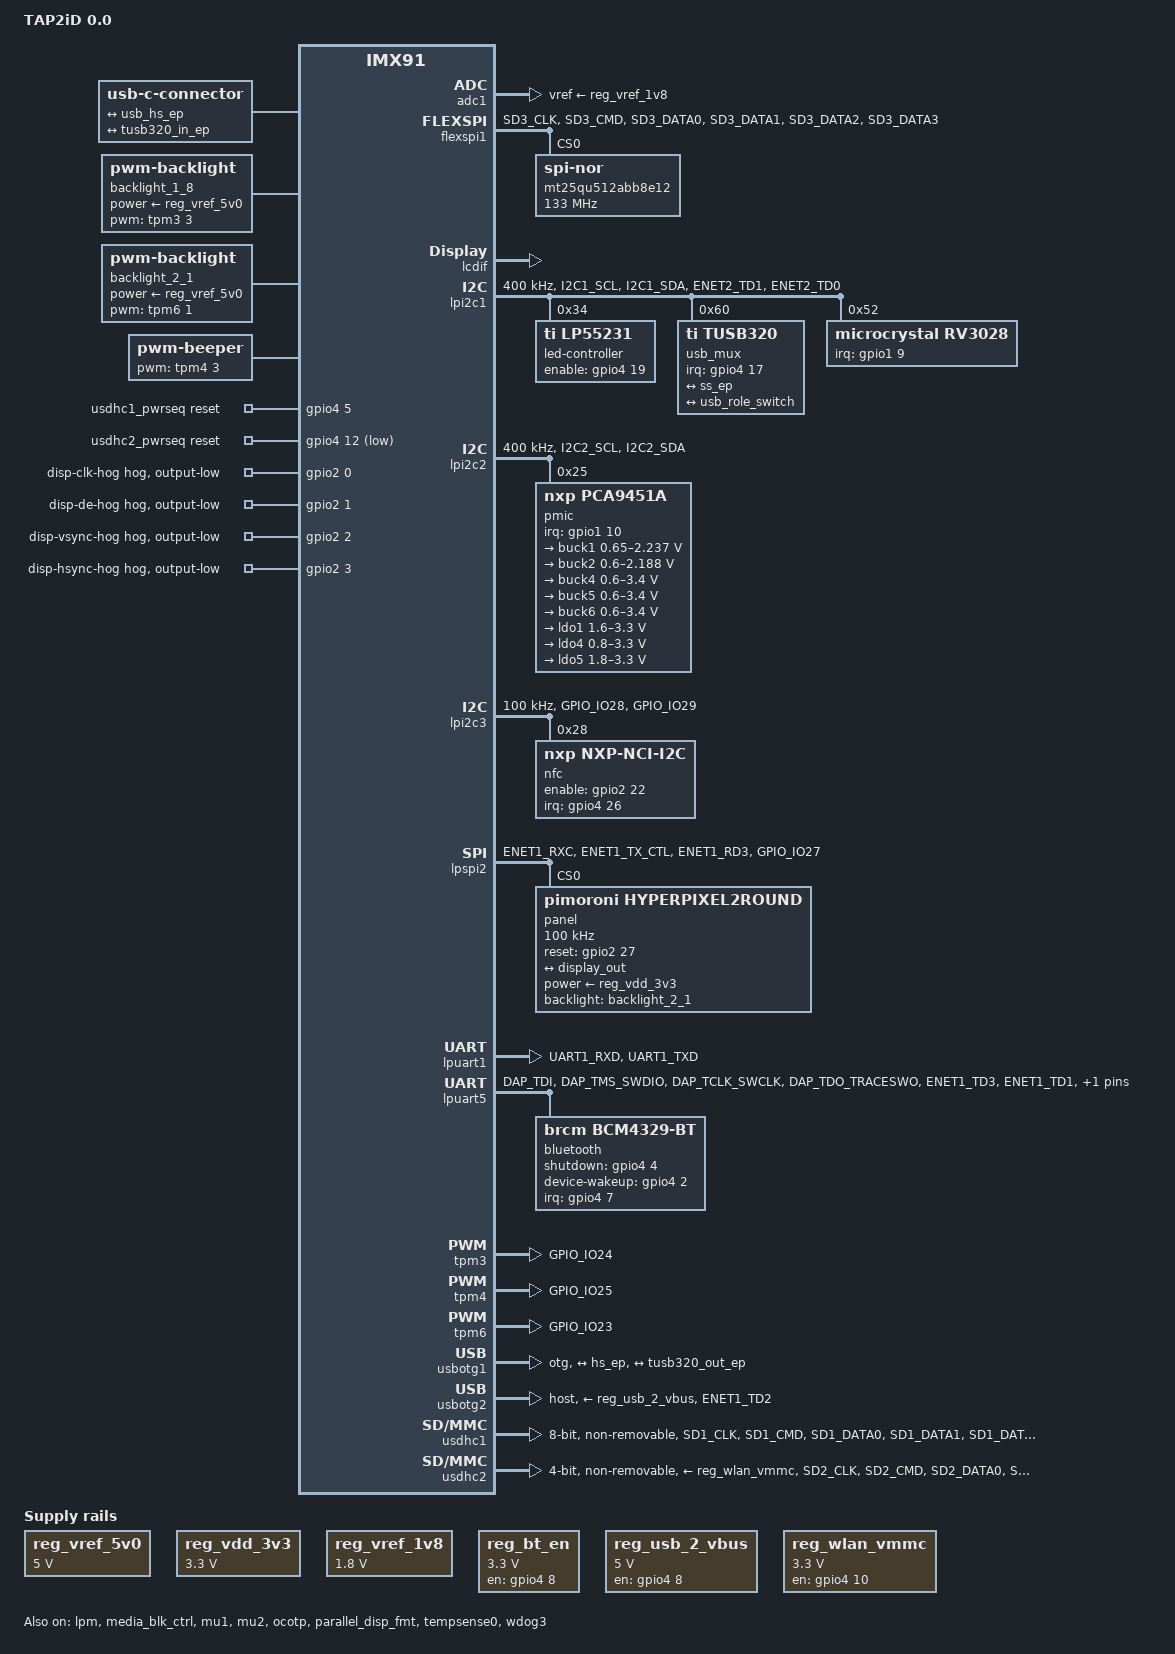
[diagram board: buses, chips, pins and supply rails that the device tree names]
// SPDX-License-Identifier: (GPL-2.0-or-later OR MIT)
/*
 * Copyright 2026 Elexontech
 */

/dts-v1/;

#include <dt-bindings/usb/pd.h>
#include <dt-bindings/leds/common.h>
#include <dt-bindings/leds/leds-lp55xx.h>
#include <dt-bindings/pwm/pwm.h>
#include "imx91.dtsi"

/ {
	model = "TAP2iD 0.0";
	compatible = "fsl,imx91-tap2id", "fsl,imx91";

	aliases {
		rtc0 = &rv3028;
		rtc1 = &bbnsm_rtc;
	};

	chosen {
		stdout-path = &lpuart1;
	};

	connector {
		compatible = "usb-c-connector";
		label = "USB-C";
		data-role = "dual";

		ports {
			#address-cells = <1>;
			#size-cells = <0>;

			port@0 {
				reg = <0>;
				hs_ep: endpoint {
					remote-endpoint = <&usb_hs_ep>;
				};
			};

			port@1 {
				reg = <1>;
				ss_ep: endpoint {
					remote-endpoint = <&tusb320_in_ep>;
				};
			};
		};
	};

	reserved-memory {
		#address-cells = <2>;
		#size-cells = <2>;
		ranges;

		linux,cma {
			compatible = "shared-dma-pool";
			reusable;
			alloc-ranges = <0 0x80000000 0 0x40000000>;
			size = <0 0x10000000>;
			linux,cma-default;
		};

		ele_reserved: ele-reserved@a4120000 {
			compatible = "shared-dma-pool";
			reg = <0 0xa4120000 0 0x100000>;
			no-map;
		};
	};

	backlight_1_8: backlight18 {
		compatible = "pwm-backlight";
		pwms = <&tpm3 3 40000 0>;	/* 25KHz PWM */
		brightness-levels = <0 10>;
		num-interpolated-steps = <10>;
		default-brightness-level = <8>;
		power-supply = <&reg_vref_5v0>;
	};

	backlight_2_1: backlight21 {
		compatible = "pwm-backlight";
		pwms = <&tpm6 1 40000 PWM_POLARITY_INVERTED>;	/* 25KHz PWM */
		brightness-levels = <0 10>;
		num-interpolated-steps = <10>;
		default-brightness-level = <8>;
		power-supply = <&reg_vref_5v0>;
	};

	pwm-beeper {
		compatible = "pwm-beeper";
		pwms = <&tpm4 3 5000 0>;
		beeper-hz = <1000>;
	};

	reg_vref_5v0: regulator-5v0 {
		compatible = "regulator-fixed";
		regulator-name = "VDD_5V0";
		regulator-min-microvolt = <5000000>;
		regulator-max-microvolt = <5000000>;
	};

	reg_vdd_3v3: regulator-vdd {
		compatible = "regulator-fixed";
		regulator-name = "VDD_3V3";
		regulator-min-microvolt = <3300000>;
		regulator-max-microvolt = <3300000>;
	};

	reg_vref_1v8: regulator-adc-vref {
		compatible = "regulator-fixed";
		regulator-name = "vref_1v8";
		regulator-min-microvolt = <1800000>;
		regulator-max-microvolt = <1800000>;
	};

	reg_bt_en: regulator-wlan-en {
		compatible = "regulator-fixed";
		regulator-name = "reg_bt_en";
		regulator-min-microvolt = <3300000>;
		regulator-max-microvolt = <3300000>;
		gpio = <&gpio4 8 GPIO_ACTIVE_HIGH>;
		startup-delay-us = <70000>;
		enable-active-high;
	};

	reg_usb_2_vbus: regulator-usb-2-vbus {
		compatible = "regulator-fixed";
		pinctrl-0 = <&pinctrl_usb_2_pwr>;
		pinctrl-names = "default";
		regulator-name = "usb_2_vbus";
		regulator-min-microvolt = <5000000>;
		regulator-max-microvolt = <5000000>;
		gpio = <&gpio4 8 GPIO_ACTIVE_HIGH>; /* USB2_PWR */
		enable-active-high;
	};

	reg_wlan_vmmc: regulator-wlan-vmmc {
		compatible = "regulator-fixed";
		regulator-name = "reg_wlan_vmmc";
		regulator-min-microvolt = <3300000>;
		regulator-max-microvolt = <3300000>;
		gpio = <&gpio4 10 GPIO_ACTIVE_HIGH>; /* WL_REG_ON */
		startup-delay-us = <70000>;
		enable-active-high;
	};

#if 0
	sound {
		compatible = "simple-audio-card";
		simple-audio-card,name = "imx-i2s-slave";
		simple-audio-card,format = "i2s";

		simple-audio-card,cpu {
		       sound-dai = <&sai2>;
		};

	       // simple-audio-card,codec {
		//       sound-dai = <&codec_device>;
		//};
	};
#endif

	usdhc1_pwrseq: usdhc1-pwrseq {
		compatible = "mmc-pwrseq-emmc";
		pinctrl-0 = <&pinctrl_usdhc1_reset>;
		pinctrl-names = "default";
		reset-gpios = <&gpio4 5 GPIO_ACTIVE_HIGH>; /* eMMC_SDIO_RESET */
	};

	usdhc2_pwrseq: usdhc2_pwrseq {
		compatible = "mmc-pwrseq-simple";
		reset-gpios = <&gpio4 12 GPIO_ACTIVE_LOW>; /* WL_DEV_WAKE */
	};

};

&adc1 {
	vref-supply = <&reg_vref_1v8>;
	status = "okay";
};

&ele_fw2 {
	memory-region = <&ele_reserved>;
};

&flexspi1 { /* qSPI */
	pinctrl-names = "default", "sleep";
	pinctrl-0 = <&pinctrl_flexspi1>;
	pinctrl-1 = <&pinctrl_flexspi1>;
	status = "okay";

// LCD_1_8
	/* For HW test */
	mt25qu512abb8e12: flash@0 {
		reg = <0>;
		#address-cells = <1>;
		#size-cells = <1>;
		compatible = "jedec,spi-nor";
		spi-max-frequency = <133000000>;
		spi-tx-bus-width = <4>;
		spi-rx-bus-width = <4>;
	};
};

&gpio1 {
	gpio-line-names = "", "", "", "", "",					/* 0-4 */
			"", "", "", "", "RTC_INT",				/* 5-9 */
			"PMIC_IRQ_B", "", "", "", "",				/* 10-14 */
			"", "", "", "", "",					/* 15-19 */
			"", "", "", "", "",					/* 20-24 */
			"", "", "", "", "";					/* 25-29 */
};

&gpio2 {
	gpio-line-names = "", "", "", "", "",					/* 0-4 */
			"", "", "", "", "",					/* 5-9 */
			"", "", "", "", "",					/* 10-14 */
			"", "", "", "", "",					/* 15-19 */
			"", "", "NFC_RESET", "", "",				/* 20-24 */
			"", "", "DISP_2_1_RST", "", "";				/* 25-29 */

	/* avoid power leakage */
	disp-clk-hog {
		gpio-hog;
		gpios = <0 GPIO_ACTIVE_HIGH>;
		output-low;
	};

	disp-de-hog {
		gpio-hog;
		gpios = <1 GPIO_ACTIVE_HIGH>;
		output-low;
	};

	disp-vsync-hog {
		gpio-hog;
		gpios = <2 GPIO_ACTIVE_HIGH>;
		output-low;
	};

	disp-hsync-hog {
		gpio-hog;
		gpios = <3 GPIO_ACTIVE_HIGH>;
		output-low;
	};
};

&gpio4 {
	gpio-line-names = "", "", "BT_WAKE", "", "BT_REG_ON",				/* 0-4 */
			"eMMC_SDIO_RESET", "", "BT_HOST_WAKE", "USB2_PWR", "",		/* 5-9 */
			"WL_REG_ON", "WL_HOST_WAKE", "WL_DEV_WAKE", "SPI_A_CS0#", "",	/* 10-14 */
			"", "", "TUSB_INT", "LED3_IRQ", "LED3_EN",			/* 15-19 */
			"", "", "", "", "TUSB_GPIO1",					/* 20-24 */
			"TUSB_GPIO2", "NFC_GPO", "", "", "";				/* 25-29 */

};

&iomuxc {

#if 0
	pinctrl-names = "default";
	pinctrl-0 = <&pinctrl_hog>;

	pinctrl_hog: hoggrp {
		fsl,pins = <
		>;
	};
#endif

	pinctrl_flexspi1: flexspi1grp {
		fsl,pins = <
			MX91_PAD_SD3_CLK__FLEXSPI1_A_SCLK		0x3fe
			MX91_PAD_SD3_CMD__FLEXSPI1_A_SS0_B		0x3fe
			MX91_PAD_SD3_DATA0__FLEXSPI1_A_DATA0		0x3fe
			MX91_PAD_SD3_DATA1__FLEXSPI1_A_DATA1		0x3fe
			MX91_PAD_SD3_DATA2__FLEXSPI1_A_DATA2		0x3fe
			MX91_PAD_SD3_DATA3__FLEXSPI1_A_DATA3		0x3fe
		>;
	};

	pinctrl_lcdif: lcdifgrp { /* LCD_2_1 */
		fsl,pins = <
			MX91_PAD_GPIO_IO00__MEDIAMIX_DISP_CLK		0x31e
			MX91_PAD_GPIO_IO01__MEDIAMIX_DISP_DE		0x31e
			MX91_PAD_GPIO_IO02__MEDIAMIX_DISP_VSYNC		0x31e
			MX91_PAD_GPIO_IO03__MEDIAMIX_DISP_HSYNC		0x31e
			MX91_PAD_GPIO_IO04__MEDIAMIX_DISP_DATA0		0x31e
			MX91_PAD_GPIO_IO05__MEDIAMIX_DISP_DATA1		0x31e
			MX91_PAD_GPIO_IO06__MEDIAMIX_DISP_DATA2		0x31e
			MX91_PAD_GPIO_IO07__MEDIAMIX_DISP_DATA3		0x31e
			MX91_PAD_GPIO_IO08__MEDIAMIX_DISP_DATA4		0x31e
			MX91_PAD_GPIO_IO09__MEDIAMIX_DISP_DATA5		0x31e
			MX91_PAD_GPIO_IO10__MEDIAMIX_DISP_DATA6		0x31e
			MX91_PAD_GPIO_IO11__MEDIAMIX_DISP_DATA7		0x31e
			MX91_PAD_GPIO_IO12__MEDIAMIX_DISP_DATA8		0x31e
			MX91_PAD_GPIO_IO13__MEDIAMIX_DISP_DATA9		0x31e
			MX91_PAD_GPIO_IO14__MEDIAMIX_DISP_DATA10	0x31e
			MX91_PAD_GPIO_IO15__MEDIAMIX_DISP_DATA11	0x31e
			MX91_PAD_GPIO_IO16__MEDIAMIX_DISP_DATA12	0x31e
			MX91_PAD_GPIO_IO17__MEDIAMIX_DISP_DATA13	0x31e
			MX91_PAD_GPIO_IO18__MEDIAMIX_DISP_DATA14	0x31e
			MX91_PAD_GPIO_IO19__MEDIAMIX_DISP_DATA15	0x31e
			MX91_PAD_GPIO_IO20__MEDIAMIX_DISP_DATA16	0x31e
			MX91_PAD_GPIO_IO21__MEDIAMIX_DISP_DATA17	0x31e
		>;
	};

	pinctrl_lcdif_gpio: lcdifgpiogrp {
		fsl,pins = <
			MX91_PAD_GPIO_IO00__GPIO2_IO0			0x51e
			MX91_PAD_GPIO_IO01__GPIO2_IO1			0x51e
			MX91_PAD_GPIO_IO02__GPIO2_IO2			0x51e
			MX91_PAD_GPIO_IO03__GPIO2_IO3			0x51e
			MX91_PAD_GPIO_IO04__GPIO2_IO4			0x51e
			MX91_PAD_GPIO_IO05__GPIO2_IO5			0x51e
			MX91_PAD_GPIO_IO06__GPIO2_IO6			0x51e
			MX91_PAD_GPIO_IO07__GPIO2_IO7			0x51e
			MX91_PAD_GPIO_IO08__GPIO2_IO8			0x51e
			MX91_PAD_GPIO_IO09__GPIO2_IO9			0x51e
			MX91_PAD_GPIO_IO10__GPIO2_IO10			0x51e
			MX91_PAD_GPIO_IO11__GPIO2_IO11			0x51e
			MX91_PAD_GPIO_IO12__GPIO2_IO12			0x51e
			MX91_PAD_GPIO_IO13__GPIO2_IO13			0x51e
			MX91_PAD_GPIO_IO14__GPIO2_IO14			0x51e
			MX91_PAD_GPIO_IO15__GPIO2_IO15			0x51e
			MX91_PAD_GPIO_IO16__GPIO2_IO16			0x51e
			MX91_PAD_GPIO_IO17__GPIO2_IO17			0x51e
			MX91_PAD_GPIO_IO18__GPIO2_IO18			0x51e
			MX91_PAD_GPIO_IO19__GPIO2_IO19			0x51e
			MX91_PAD_GPIO_IO20__GPIO2_IO20			0x51e
			MX91_PAD_GPIO_IO21__GPIO2_IO21			0x51e
		>;
	};

	pinctrl_buzzer_ctl_pwm: buzzerpwmgrp { /* BUZZER-CTL */
		fsl,pins = <
			MX91_PAD_GPIO_IO25__TPM4_CH3			0x51e
		>;
	};

	pinctrl_lcd_1_8_pwm: lcd18pwmgrp { /* 1.8" / LCD_1_8_PWM */
		fsl,pins = <
			MX91_PAD_GPIO_IO24__TPM3_CH3			0x31e
		>;
	};

	pinctrl_lcd_2_1_pwm: lcd21pwmgrp { /* 2.1" / LCD_2_1_PWM */
		fsl,pins = <
			MX91_PAD_GPIO_IO23__TPM6_CH1			0x31e
		>;
	};

	pinctrl_lpi2c1: lpi2c1grp {
		fsl,pins = <
			MX91_PAD_I2C1_SCL__LPI2C1_SCL			0x40000b9e
			MX91_PAD_I2C1_SDA__LPI2C1_SDA			0x40000b9e

			MX91_PAD_ENET2_TD1__GPIO4_IO18			0x31e	/* LED3_IRQ */
			MX91_PAD_ENET2_TD0__GPIO4_IO19			0x31e	/* LED3_EN */
		>;
	};

	pinctrl_lpi2c2: lpi2c2grp {
		fsl,pins = <
			MX91_PAD_I2C2_SCL__LPI2C2_SCL			0x40000b9e
			MX91_PAD_I2C2_SDA__LPI2C2_SDA			0x40000b9e
		>;
	};

	pinctrl_lpi2c3: lpi2c3grp {
		fsl,pins = <
			MX91_PAD_GPIO_IO28__LPI2C3_SDA			0x40000b9e
			MX91_PAD_GPIO_IO29__LPI2C3_SCL			0x40000b9e
		>;
	};

	pinctrl_lpspi2: lpspi2grp {
		fsl,pins = <
			MX91_PAD_ENET1_RXC__LPSPI2_SOUT			0x3fe /* SPI_A_SDO */
			MX91_PAD_ENET1_TX_CTL__LPSPI2_SCK		0x3fe /* SPI_A_SCK */

			MX91_PAD_ENET1_RD3__GPIO4_IO13			0x31e /* SPI_A_CS0# */

			MX91_PAD_GPIO_IO27__GPIO2_IO27			0x31e /* DISP_2_1_RST */
		>;
	};

	pinctrl_nfc: nfcgrp {
		fsl,pins = <
			MX91_PAD_ENET2_RD2__GPIO4_IO26			0x31e /* NFC_GPO (IRQ) */
			MX91_PAD_GPIO_IO22__GPIO2_IO22			0x31e /* NFC_RESET (enable) */
		>;
	};

	pinctrl_pmic: pmicgrp {
		fsl,pins = <
			MX91_PAD_PDM_BIT_STREAM1__GPIO1_IO10		0x31e /* PMIC_IRQ_B */
		>;
	};

	pinctrl_rv3028: rv3028grp {
		fsl,pins = <
			MX91_PAD_PDM_BIT_STREAM0__GPIO1_IO9		0x31e /* RTC_INT */
		>;
	};

	pinctrl_sai2: sai3grp {
		fsl,pins = <
			MX91_PAD_ENET2_TD3__SAI2_RX_DATA0		0x31e /* PCM_DIN */
			MX91_PAD_ENET2_TXC__SAI2_TX_BCLK		0x31e /* PCM_CLK */
			MX91_PAD_ENET2_RX_CTL__SAI2_TX_DATA0		0x31e /* PCM_DOUT */
		>;
	};

	pinctrl_tusb320: tusb320grp {
		fsl,pins = <
			MX91_PAD_ENET2_TD2__GPIO4_IO17			0x31e /* TUSB_INT */
			MX91_PAD_ENET2_RD0__GPIO4_IO24			0x31e /* TUSB_GPIO1 */
			MX91_PAD_ENET2_RD1__GPIO4_IO25			0x31e /* TUSB_GPIO2 */
		>;
	};

	pinctrl_uart1: uart1grp {
		fsl,pins = <
			MX91_PAD_UART1_RXD__LPUART1_RX			0x31e
			MX91_PAD_UART1_TXD__LPUART1_TX			0x31e
		>;
	};

	pinctrl_uart5: uart5grp {
		fsl,pins = <
			MX91_PAD_DAP_TDI__LPUART5_RX			0x31e
			MX91_PAD_DAP_TMS_SWDIO__LPUART5_RTS_B		0x31e
			MX91_PAD_DAP_TCLK_SWCLK__LPUART5_CTS_B		0x31e
			MX91_PAD_DAP_TDO_TRACESWO__LPUART5_TX		0x31e

			MX91_PAD_ENET1_TD3__GPIO4_IO2			0x31e /* BT_WAKE */
			MX91_PAD_ENET1_TD1__GPIO4_IO4			0x31e /* BT_REG_ON */
			MX91_PAD_ENET1_TXC__GPIO4_IO7			0x31e /* BT_HOST_WAKE */
		>;
	};

	pinctrl_usb_2: usb_2grp {
		fsl,pins = <
			MX91_PAD_ENET1_TD2__HSIOMIX_OTG_OC2		0x31e /* USB2_EN_OC */
		>;
	};

	pinctrl_usb_2_pwr: usb2pwrgrp {
		fsl,pins = <
			MX91_PAD_ENET1_RX_CTL__GPIO4_IO8		0x31e /* USB2_PWR */
		>;
	};

	pinctrl_usdhc1: usdhc1grp {
		fsl,pins = <
			MX91_PAD_SD1_CLK__USDHC1_CLK			0x15fe
			MX91_PAD_SD1_CMD__USDHC1_CMD			0x13fe
			MX91_PAD_SD1_DATA0__USDHC1_DATA0		0x13fe
			MX91_PAD_SD1_DATA1__USDHC1_DATA1		0x13fe
			MX91_PAD_SD1_DATA2__USDHC1_DATA2		0x13fe
			MX91_PAD_SD1_DATA3__USDHC1_DATA3		0x13fe
			MX91_PAD_SD1_DATA4__USDHC1_DATA4		0x13fe
			MX91_PAD_SD1_DATA5__USDHC1_DATA5		0x13fe
			MX91_PAD_SD1_DATA6__USDHC1_DATA6		0x13fe
			MX91_PAD_SD1_DATA7__USDHC1_DATA7		0x13fe
			MX91_PAD_SD1_STROBE__USDHC1_STROBE		0x15fe
		>;
	};

	pinctrl_usdhc1_reset: usdhc1resetgrp {
		fsl,pins = <
			MX91_PAD_ENET1_TD0__GPIO4_IO5			0x31e /* eMMC_SDIO_RESET */
		>;
	};

	pinctrl_usdhc2_gpio: usdhc2gpiogrp {
		fsl,pins = <
			MX91_PAD_ENET1_RD0__GPIO4_IO10			0x31e /* WL_REG_ON */
			MX91_PAD_ENET1_RD1__GPIO4_IO11			0x31e /* WL_HOST_WAKE */
			MX91_PAD_ENET1_RD2__GPIO4_IO12			0x31e /* WL_DEV_WAKE */
		>;
	};

	pinctrl_usdhc2: usdhc2grp {
		fsl,pins = <
			MX91_PAD_SD2_CLK__USDHC2_CLK			0x17fe
			MX91_PAD_SD2_CMD__USDHC2_CMD			0x17fe
			MX91_PAD_SD2_DATA0__USDHC2_DATA0		0x17fe
			MX91_PAD_SD2_DATA1__USDHC2_DATA1		0x17fe
			MX91_PAD_SD2_DATA2__USDHC2_DATA2		0x17fe
			MX91_PAD_SD2_DATA3__USDHC2_DATA3		0x17fe
		>;
	};
};

&lcdif {
	assigned-clock-rates = <300000000>, <30000000>, <333333334>, <133333333>;
	status = "okay";
};

&lpi2c1 {
	#address-cells = <1>;
	#size-cells = <0>;
	clock-frequency = <400000>;
	pinctrl-names = "default", "sleep";
	pinctrl-0 = <&pinctrl_lpi2c1>;
	pinctrl-1 = <&pinctrl_lpi2c1>;
	status = "okay";

	led-controller@34 {
	    #address-cells = <1>;
	    #size-cells = <0>;
	    compatible = "ti,lp55231";
	    enable-gpios = <&gpio4 19 GPIO_ACTIVE_HIGH>; /* LED3_EN */
	    reg = <0x34>;
	    clock-mode = /bits/ 8 <1>;

	    multi-led@0 {
		#address-cells = <1>;
		#size-cells = <0>;
		reg = <0x0>;
		color = <LED_COLOR_ID_RGB>;
		function = LED_FUNCTION_STANDBY;
		function-enumerator = <1>;
		linux,default-trigger = "heartbeat";

		led@0 {
		    led-cur = /bits/ 8 <50>;
		    max-cur = /bits/ 8 <100>;
		    reg = <0x0>;
		    color = <LED_COLOR_ID_GREEN>;
		};

		led@1 {
		    led-cur = /bits/ 8 <50>;
		    max-cur = /bits/ 8 <100>;
		    reg = <0x1>;
		    color = <LED_COLOR_ID_BLUE>;
		};

		led@6 {
		    led-cur = /bits/ 8 <50>;
		    max-cur = /bits/ 8 <100>;
		    reg = <0x6>;
		    color = <LED_COLOR_ID_RED>;
		};
	    };

	    multi-led@1 {
		#address-cells = <1>;
		#size-cells = <0>;
		reg = <0x1>;
		color = <LED_COLOR_ID_RGB>;
		function = LED_FUNCTION_STANDBY;
		function-enumerator = <2>;
		linux,default-trigger = "heartbeat";

		led@2 {
		    led-cur = /bits/ 8 <50>;
		    max-cur = /bits/ 8 <100>;
		    reg = <0x2>;
		    color = <LED_COLOR_ID_GREEN>;
		};

		led@3 {
		    led-cur = /bits/ 8 <50>;
		    max-cur = /bits/ 8 <100>;
		    reg = <0x3>;
		    color = <LED_COLOR_ID_BLUE>;
		};

		led@7 {
		    led-cur = /bits/ 8 <50>;
		    max-cur = /bits/ 8 <100>;
		    reg = <0x7>;
		    color = <LED_COLOR_ID_RED>;
		};
	    };

	    multi-led@2 {
		#address-cells = <1>;
		#size-cells = <0>;
		reg = <0x2>;
		color = <LED_COLOR_ID_RGB>;
		function = LED_FUNCTION_STANDBY;
		function-enumerator = <3>;
		linux,default-trigger = "heartbeat";

		led@4 {
		    led-cur = /bits/ 8 <50>;
		    max-cur = /bits/ 8 <100>;
		    reg = <0x4>;
		    color = <LED_COLOR_ID_GREEN>;
		};

		led@5 {
		    led-cur = /bits/ 8 <50>;
		    max-cur = /bits/ 8 <100>;
		    reg = <0x5>;
		    color = <LED_COLOR_ID_BLUE>;
		};

		led@8 {
		    led-cur = /bits/ 8 <50>;
		    max-cur = /bits/ 8 <100>;
		    reg = <0x8>;
		    color = <LED_COLOR_ID_RED>;
		};
	    };

	};

	usb_mux: tusb320@60 {
		compatible = "ti,tusb320";
		interrupts-extended = <&gpio4 17 IRQ_TYPE_EDGE_FALLING>; /* TUSB_INT */
		pinctrl-names = "default";
		pinctrl-0 = <&pinctrl_tusb320>;
		reg = <0x60>;

		ports {
		#address-cells = <1>;
		#size-cells = <0>;

			port@0 {
				reg = <0>;
				tusb320_in_ep: endpoint {
					remote-endpoint = <&ss_ep>;
				};
			};

			port@1 {
				reg = <1>;
				tusb320_out_ep: endpoint {
					remote-endpoint = <&usb_role_switch>;
				};
			};
		};
	};

	rv3028: rtc@52 {
		backup-switchover-dsm;
		#clock-cells = <0>;
		pinctrl-names = "default";
		pinctrl-0 = <&pinctrl_rv3028>;
		compatible = "microcrystal,rv3028";
		reg = <0x52>;
		interrupt-parent = <&gpio1>; /* RTC_INT */
		interrupts = <9 IRQ_TYPE_LEVEL_LOW>;
		wakeup-source;
	};
};

&lpi2c2 {
	#address-cells = <1>;
	#size-cells = <0>;
	clock-frequency = <400000>;
	pinctrl-names = "default", "sleep";
	pinctrl-0 = <&pinctrl_lpi2c2>;
	pinctrl-1 = <&pinctrl_lpi2c2>;
	status = "okay";

	pmic@25 { /* PMIC */
		compatible = "nxp,pca9451a";
		reg = <0x25>;
		interrupt-parent = <&gpio1>;
		interrupts = <10 IRQ_TYPE_EDGE_FALLING>; /* PMIC_IRQ_B */
		pinctrl-names = "default";
		pinctrl-0 = <&pinctrl_pmic>;

		regulators {
			buck1: BUCK1 {
				regulator-name = "BUCK1";
				regulator-min-microvolt = <650000>;
				regulator-max-microvolt = <2237500>;
				regulator-boot-on;
				regulator-always-on;
				regulator-ramp-delay = <3125>;
			};

			buck2: BUCK2 {
				regulator-name = "BUCK2";
				regulator-min-microvolt = <600000>;
				regulator-max-microvolt = <2187500>;
				regulator-boot-on;
				regulator-always-on;
				regulator-ramp-delay = <3125>;
			};

			buck4: BUCK4{
				regulator-name = "BUCK4";
				regulator-min-microvolt = <600000>;
				regulator-max-microvolt = <3400000>;
				regulator-boot-on;
				regulator-always-on;
			};

			buck5: BUCK5{
				regulator-name = "BUCK5";
				regulator-min-microvolt = <600000>;
				regulator-max-microvolt = <3400000>;
				regulator-boot-on;
				regulator-always-on;
			};

			buck6: BUCK6 {
				regulator-name = "BUCK6";
				regulator-min-microvolt = <600000>;
				regulator-max-microvolt = <3400000>;
				regulator-boot-on;
				regulator-always-on;
			};

			ldo1: LDO1 {
				regulator-name = "LDO1";
				regulator-min-microvolt = <1600000>;
				regulator-max-microvolt = <3300000>;
				regulator-boot-on;
				regulator-always-on;
			};

			ldo4: LDO4 {
				regulator-name = "LDO4";
				regulator-min-microvolt = <800000>;
				regulator-max-microvolt = <3300000>;
				regulator-boot-on;
				regulator-always-on;
			};

			ldo5: LDO5 {
				regulator-name = "LDO5";
				regulator-min-microvolt = <1800000>;
				regulator-max-microvolt = <3300000>;
				regulator-boot-on;
				regulator-always-on;
			};
		};
	};
};

&lpi2c3 { /*  */
	#address-cells = <1>;
	#size-cells = <0>;
	clock-frequency = <100000>;
	pinctrl-names = "default", "sleep";
	pinctrl-0 = <&pinctrl_lpi2c3>;
	pinctrl-1 = <&pinctrl_lpi2c3>;
	status = "okay";

	nfc@28 { /* PN7161A1HN */
		compatible = "nxp,nxp-nci-i2c";
		pinctrl-names = "default";
		pinctrl-0 = <&pinctrl_nfc>;
		reg = <0x28>;

		interrupt-parent = <&gpio4>;
		interrupts = <26 IRQ_TYPE_EDGE_RISING>; /* NFC_GPO (IRQ) */

		enable-gpios = <&gpio2 22 GPIO_ACTIVE_HIGH>; /* NFC_RESET (enable) */
		// firmware-gpios = <&tlmm 110 GPIO_ACTIVE_HIGH>; /* NFC_DWL_REQ */
	};
};

&lpm {
	soc-supply = <&buck1>;
	status = "okay";
};

&lpspi2 { /* SPI_A */
	fsl,spi-num-chipselects = <2>;
	pinctrl-names = "default", "sleep";
	pinctrl-0 = <&pinctrl_lpspi2>;
	pinctrl-1 = <&pinctrl_lpspi2>;
	cs-gpios = <0>, <&gpio4 13 GPIO_ACTIVE_HIGH>;
	status = "okay";

	panel: display@0 {
		/* 2.1" LCD */
		compatible = "pimoroni,hyperpixel2round";
		backlight = <&backlight_2_1>;
		power-supply = <&reg_vdd_3v3>;
		reg = <0>;
		reset-gpios = <&gpio2 27 GPIO_ACTIVE_HIGH>; /* DISP_2_1_RST */
		rotation = <0>;
		spi-max-frequency = <100000>;

		port {
			panel_in: endpoint {
				remote-endpoint = <&display_out>;
			};
		};
	};
};

&lpuart1 { /* console / debug */
	pinctrl-names = "default";
	pinctrl-0 = <&pinctrl_uart1>;
	status = "okay";
};

&lpuart5 {
	/* BT */
	pinctrl-names = "default";
	pinctrl-0 = <&pinctrl_uart5>;
	// interrupts-extended = <&gpio4 7 IRQ_TYPE_EDGE_FALLING>; /* BT_HOST_WAKE */
	uart-has-rtscts;
	status = "okay";

	bluetooth {
		shutdown-gpios = <&gpio4 4 GPIO_ACTIVE_HIGH>; /* BT_REG_ON */
		compatible = "brcm,bcm4329-bt";
		brcm,requires-autobaud-mode;
		max-speed = <921600>;
		brcm,bt-pcm-int-params = [03 00 00 01 01];
		device-wakeup-gpios = <&gpio4 2 GPIO_ACTIVE_HIGH>; /* BT_WAKE */
		interrupt-parent = <&gpio4>;
		interrupts = <7 IRQ_TYPE_EDGE_FALLING>; /* BT_HOST_WAKE */
	};
};

&media_blk_ctrl {
	status = "okay";
};

&mu1 {
	status = "okay";
};

&mu2 {
	status = "okay";
};

&ocotp {
	status = "okay";
};

&parallel_disp_fmt { /* LCD_2_1 */
	pinctrl-names = "default", "gpio";
	pinctrl-0 = <&pinctrl_lcdif>;
	pinctrl-1 = <&pinctrl_lcdif_gpio>;
	fsl,interface-pix-fmt = "rgb666";
	status = "okay";

	ports {
		port@1 {
			reg = <1>;

			display_out: endpoint {
				remote-endpoint = <&panel_in>;
			};
		};
	};
};

&sai2 { /* AP6611S BT PCM */
	pinctrl-names = "default";
	pinctrl-0 = <&pinctrl_sai2>;
	assigned-clocks = <&clk IMX91_CLK_SAI2>;
	assigneassigned-clock-parents = <&clk IMX91_CLK_AUDIO_PLL>;
	// assigneassigned-clock-rates = <24000000>;
	status = "disabled";
};

&tempsense0 {
	status = "okay";
};

&tpm3 { /* LCD_1_8_PWM */
	pinctrl-names = "default";
	pinctrl-0 = <&pinctrl_lcd_1_8_pwm>;
	status = "okay";
};

&tpm4 { /* BUZZER-CTL */
	pinctrl-names = "default";
	pinctrl-0 = <&pinctrl_buzzer_ctl_pwm>;
	status = "okay";
};

&tpm6 { /* LCD_2_1_PWM */
	pinctrl-names = "default";
	pinctrl-0 = <&pinctrl_lcd_2_1_pwm>;
	status = "okay";
};

&usbotg1 { /* USB_A (USB-C) J3 */
	dr_mode = "otg";
	hnp-disable;
	srp-disable;
	adp-disable;
	disable-over-current;
	status = "okay";

	ports {
		#address-cells = <1>;
		#size-cells = <0>;

		port@0 {
			reg = <0>;
			usb_hs_ep: endpoint {
				remote-endpoint = <&hs_ep>;
			};
		};

		port@1 {
			reg = <1>;
			usb_role_switch: endpoint {
				remote-endpoint = <&tusb320_out_ep>;
			};
		};
	};
};

&usbotg2 { /* USB2 Host J2 */
	pinctrl-names = "default";
	pinctrl-0 = <&pinctrl_usb_2>;
	dr_mode = "host";
	over-current-active-low;
	samsung,picophy-pre-emp-curr-control = <3>;
	samsung,picophy-dc-vol-level-adjust = <7>;
	status = "okay";
	vbus-supply = <&reg_usb_2_vbus>;
};

&usdhc1 { /* eMMC */
	pinctrl-names = "default", "state_100mhz", "state_200mhz";
	pinctrl-0 = <&pinctrl_usdhc1>;
	pinctrl-1 = <&pinctrl_usdhc1>;
	pinctrl-2 = <&pinctrl_usdhc1>;
	bus-width = <8>;
	mmc-pwrseq = <&usdhc1_pwrseq>;
	non-removable;
	status = "okay";
};

&usdhc2 { /* WiFi */
	pinctrl-names = "default", "state_100mhz", "state_200mhz";
	pinctrl-0 = <&pinctrl_usdhc2>, <&pinctrl_usdhc2_gpio>;
	pinctrl-1 = <&pinctrl_usdhc2>, <&pinctrl_usdhc2_gpio>;
	pinctrl-2 = <&pinctrl_usdhc2>, <&pinctrl_usdhc2_gpio>;
	bus-width = <4>;
	// cd-gpios = <&gpio4 11 GPIO_ACTIVE_LOW>; /* WL_HOST_WAKE */
	fsl,tuning-start-tap = <20>;
	fsl,tuning-step= <2>;
	keep-power-in-suspend;
	max-frequency = <133333333>;
	mmc-pwrseq = <&usdhc2_pwrseq>;
	non-removable;
	pm-ignore-notify;
	vmmc-supply = <&reg_wlan_vmmc>;
	voltage-ranges = <1800 1800>;
	vqmmc-1-8-v;
	vqmmc-supply = <&reg_vref_1v8>;
	wakeup-source;
	status = "okay";
	#address-cells = <1>;
	#size-cells = <0>;
};

&wdog3 {
	status = "okay";
};
